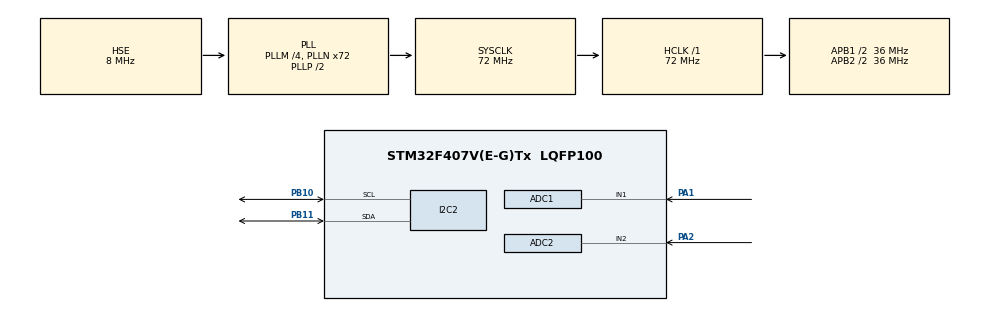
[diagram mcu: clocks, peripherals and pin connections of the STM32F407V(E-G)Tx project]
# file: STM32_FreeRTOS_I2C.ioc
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ADC1.Channel-0\#ChannelRegularConversion=ADC_CHANNEL_1
ADC1.ClockPrescaler=ADC_CLOCK_SYNC_PCLK_DIV4
ADC1.ContinuousConvMode=ENABLE
ADC1.NbrOfConversionFlag=1
ADC1.Rank-0\#ChannelRegularConversion=1
ADC1.Resolution=ADC_RESOLUTION_10B
ADC1.SamplingTime-0\#ChannelRegularConversion=ADC_SAMPLETIME_3CYCLES
ADC1.master=1
ADC2.Channel-0\#ChannelRegularConversion=ADC_CHANNEL_2
ADC2.ClockPrescaler=ADC_CLOCK_SYNC_PCLK_DIV4
ADC2.ContinuousConvMode=ENABLE
ADC2.NbrOfConversionFlag=1
ADC2.Rank-0\#ChannelRegularConversion=1
ADC2.Resolution=ADC_RESOLUTION_10B
ADC2.SamplingTime-0\#ChannelRegularConversion=ADC_SAMPLETIME_3CYCLES
FREERTOS.Mutexes01=adcMutex,Dynamic,NULL,Available
FREERTOS.Tasks01=defaultTask,24,128,StartDefaultTask,Default,NULL,Dynamic,NULL,NULL;ADC1Task,32,256,ADC1_Task,As external,NULL,Dynamic,NULL,NULL;ADC2Task,32,256,ADC2_Task,As external,NULL,Dynamic,NULL,NULL;DisplayTask,24,256,Display_Task,As external,NULL,Dynamic,NULL,NULL
FREERTOS.configUSE_NEWLIB_REENTRANT=1
Mcu.Family=STM32F4
Mcu.Name=STM32F407V(E-G)Tx
Mcu.Package=LQFP100
NVIC.PriorityGroup=NVIC_PRIORITYGROUP_4
NVIC.TIM2_IRQn=true\:15\:0\:false\:false\:true\:false\:false\:true\:true
NVIC.TimeBase=TIM2_IRQn
NVIC.TimeBaseIP=TIM2
PA1.Signal=ADCx_IN1
PA13.Mode=Serial_Wire
PA13.Signal=SYS_JTMS-SWDIO
PA14.Mode=Serial_Wire
PA14.Signal=SYS_JTCK-SWCLK
PA2.Signal=ADCx_IN2
PB10.Mode=I2C
PB10.Signal=I2C2_SCL
PB11.Mode=I2C
PB11.Signal=I2C2_SDA
PH0-OSC_IN.Mode=HSE-External-Oscillator
PH0-OSC_IN.Signal=RCC_OSC_IN
PH1-OSC_OUT.Mode=HSE-External-Oscillator
PH1-OSC_OUT.Signal=RCC_OSC_OUT
ProjectManager.HeapSize=0x200
ProjectManager.StackSize=0x400
ProjectManager.TargetToolchain=STM32CubeIDE
RCC.48MHZClocksFreq_Value=20571428.57142857
RCC.AHBFreq_Value=72000000
RCC.APB1CLKDivider=RCC_HCLK_DIV2
RCC.APB1Freq_Value=36000000
RCC.APB1TimFreq_Value=72000000
RCC.APB2CLKDivider=RCC_HCLK_DIV2
RCC.APB2Freq_Value=36000000
RCC.APB2TimFreq_Value=72000000
RCC.CortexFreq_Value=72000000
RCC.HCLKFreq_Value=72000000
RCC.HSE_VALUE=8000000
RCC.HSI_VALUE=16000000
RCC.PLLM=4
RCC.PLLN=72
RCC.PLLQ=7
RCC.PLLSourceVirtual=RCC_PLLSOURCE_HSE
RCC.SYSCLKFreq_VALUE=72000000
RCC.SYSCLKSource=RCC_SYSCLKSOURCE_PLLCLK
RCC.VCOOutputFreq_Value=144000000
SH.ADCx_IN1.0=ADC1_IN1,IN1
SH.ADCx_IN2.0=ADC2_IN2,IN2
TIM6.AutoReloadPreload=TIM_AUTORELOAD_PRELOAD_ENABLE
TIM6.Period=0xFFFF-1
TIM6.Prescaler=72-1
VP_FREERTOS_VS_CMSIS_V2.Mode=CMSIS_V2
VP_SYS_VS_tim2.Mode=TIM2
VP_TIM6_VS_ClockSourceINT.Mode=Enable_Timer
board=STM32F407G-DISC1

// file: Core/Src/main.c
/* USER CODE BEGIN Header */
/**
  ******************************************************************************
  * @file           : main.c
  * @brief          : Main program body
  ******************************************************************************
  * @attention
  *
  * Copyright (c) 2025 STMicroelectronics.
  * All rights reserved.
  *
  * This software is licensed under terms that can be found in the LICENSE file
  * in the root directory of this software component.
  * If no LICENSE file comes with this software, it is provided AS-IS.
  *
  ******************************************************************************
  */
/* USER CODE END Header */
#include "main.h"
#include "cmsis_os.h"

/* USER CODE BEGIN Includes */
#include "LCD_I2C.h"
#include <stdio.h>
/* USER CODE END Includes */

/* USER CODE BEGIN PD */
uint16_t readValue1, readValue2;
char lcd_buffer1[20];
char lcd_buffer2[20];
/* USER CODE END PD */

ADC_HandleTypeDef hadc1;
ADC_HandleTypeDef hadc2;
I2C_HandleTypeDef hi2c2;
TIM_HandleTypeDef htim6;
/* Definitions for defaultTask */
osThreadId_t defaultTaskHandle;
const osThreadAttr_t defaultTask_attributes = {
  .name = "defaultTask",
  .stack_size = 128 * 4,
  .priority = (osPriority_t) osPriorityNormal,
};
/* Definitions for ADC1Task */
osThreadId_t ADC1TaskHandle;
const osThreadAttr_t ADC1Task_attributes = {
  .name = "ADC1Task",
  .stack_size = 256 * 4,
  .priority = (osPriority_t) osPriorityAboveNormal,
};
/* Definitions for ADC2Task */
osThreadId_t ADC2TaskHandle;
const osThreadAttr_t ADC2Task_attributes = {
  .name = "ADC2Task",
  .stack_size = 256 * 4,
  .priority = (osPriority_t) osPriorityAboveNormal,
};
/* Definitions for DisplayTask */
osThreadId_t DisplayTaskHandle;
const osThreadAttr_t DisplayTask_attributes = {
  .name = "DisplayTask",
  .stack_size = 256 * 4,
  .priority = (osPriority_t) osPriorityNormal,
};
/* Definitions for adcMutex */
osMutexId_t adcMutexHandle;
const osMutexAttr_t adcMutex_attributes = {
  .name = "adcMutex"
};
/* USER CODE BEGIN PV */
osThreadId_t adc1TaskHandle;
osThreadId_t adc2TaskHandle;
osThreadId_t displayTaskHandle;
osMutexId_t adcMutexHandle;
/* USER CODE END PV */

void SystemClock_Config(void);
static void MX_GPIO_Init(void);
static void MX_ADC1_Init(void);
static void MX_ADC2_Init(void);
static void MX_I2C2_Init(void);
static void MX_TIM6_Init(void);
void StartDefaultTask(void *argument);
extern void ADC1_Task(void *argument);
extern void ADC2_Task(void *argument);
extern void Display_Task(void *argument);

/* USER CODE BEGIN PFP */
void read_val1(void);
void read_val2(void);
/* USER CODE END PFP */

/* USER CODE BEGIN 0 */
void read_val1(void)
{
   osMutexAcquire(adcMutexHandle, osWaitForever);
   HAL_ADC_Start(&hadc1);
   HAL_ADC_PollForConversion(&hadc1, 1000);
   readValue1 = HAL_ADC_GetValue(&hadc1);
   HAL_ADC_Stop(&hadc1);
   osMutexRelease(adcMutexHandle);
}

void read_val2(void)
{
   osMutexAcquire(adcMutexHandle, osWaitForever);
   HAL_ADC_Start(&hadc2);
   HAL_ADC_PollForConversion(&hadc2, 1000);
   readValue2 = HAL_ADC_GetValue(&hadc2);
   HAL_ADC_Stop(&hadc2);
   osMutexRelease(adcMutexHandle);
}

/* ADC1 Task - reads every 100ms */
void ADC1_Task(void *argument)
{
  const uint32_t delay_ms = 100;

  for(;;)
  {
    read_val1();
    osDelay(delay_ms);
  }
}

/* ADC2 Task - reads every 500ms */
void ADC2_Task(void *argument)
{
  const uint32_t delay_ms = 2000;

  for(;;)
  {
    read_val2();
    osDelay(delay_ms);
  }
}

/* Display Task - updates LCD periodically */
void Display_Task(void *argument)
{
  const uint32_t mydelay = 200;

  for(;;)
  {
    // Display PA1 value on first row
    LCD_SET_CURSOR(0, 0);
    uint16_t percent1 = (readValue1 * 100) / 1023;
    snprintf(lcd_buffer1, sizeof(lcd_buffer1), "PA1 : %3u%%", percent1);
    LCD_SEND_STRING(lcd_buffer1);
    // Display PA2 value on second row
    LCD_SET_CURSOR(1, 0);
    uint16_t percent2 = (readValue2 * 100) / 1023;
    snprintf(lcd_buffer2, sizeof(lcd_buffer2), "PA2 : %3u%%", percent2);
    LCD_SEND_STRING(lcd_buffer2);
    osDelay(mydelay);
  }
}
/* USER CODE END 0 */

int main(void)
{

  /* MCU Configuration--------------------------------------------------------*/

  /* Reset of all peripherals, Initializes the Flash interface and the Systick. */
  HAL_Init();

  /* Configure the system clock */
  SystemClock_Config();

  /* Initialize all configured peripherals */
  MX_GPIO_Init();
  MX_ADC1_Init();
  MX_ADC2_Init();
  MX_I2C2_Init();
  MX_TIM6_Init();
  /* USER CODE BEGIN 2 */
  LCD_INIT();
  /* USER CODE END 2 */

  /* Init scheduler */
  osKernelInitialize();
  /* Create the mutex(es) */
  /* creation of adcMutex */
  adcMutexHandle = osMutexNew(&adcMutex_attributes);

  /* Create the thread(s) */
  /* creation of defaultTask */
  defaultTaskHandle = osThreadNew(StartDefaultTask, NULL, &defaultTask_attributes);

  /* creation of ADC1Task */
  ADC1TaskHandle = osThreadNew(ADC1_Task, NULL, &ADC1Task_attributes);

  /* creation of ADC2Task */
  ADC2TaskHandle = osThreadNew(ADC2_Task, NULL, &ADC2Task_attributes);

  /* creation of DisplayTask */
  DisplayTaskHandle = osThreadNew(Display_Task, NULL, &DisplayTask_attributes);

  /* Start scheduler */
  osKernelStart();

  /* We should never get here as control is now taken by the scheduler */

  /* Infinite loop */
  while (1)
  {

  }
}

void SystemClock_Config(void)
{
  RCC_OscInitTypeDef RCC_OscInitStruct = {0};
  RCC_ClkInitTypeDef RCC_ClkInitStruct = {0};

  /** Configure the main internal regulator output voltage
  */
  __HAL_RCC_PWR_CLK_ENABLE();
  __HAL_PWR_VOLTAGESCALING_CONFIG(PWR_REGULATOR_VOLTAGE_SCALE1);

  /** Initializes the RCC Oscillators according to the specified parameters
  * in the RCC_OscInitTypeDef structure.
  */
  RCC_OscInitStruct.OscillatorType = RCC_OSCILLATORTYPE_HSE;
  RCC_OscInitStruct.HSEState = RCC_HSE_ON;
  RCC_OscInitStruct.PLL.PLLState = RCC_PLL_ON;
  RCC_OscInitStruct.PLL.PLLSource = RCC_PLLSOURCE_HSE;
  RCC_OscInitStruct.PLL.PLLM = 4;
  RCC_OscInitStruct.PLL.PLLN = 72;
  RCC_OscInitStruct.PLL.PLLP = RCC_PLLP_DIV2;
  RCC_OscInitStruct.PLL.PLLQ = 7;
  if (HAL_RCC_OscConfig(&RCC_OscInitStruct) != HAL_OK)
  {
    Error_Handler();
  }

  /** Initializes the CPU, AHB and APB buses clocks
  */
  RCC_ClkInitStruct.ClockType = RCC_CLOCKTYPE_HCLK|RCC_CLOCKTYPE_SYSCLK
                              |RCC_CLOCKTYPE_PCLK1|RCC_CLOCKTYPE_PCLK2;
  RCC_ClkInitStruct.SYSCLKSource = RCC_SYSCLKSOURCE_PLLCLK;
  RCC_ClkInitStruct.AHBCLKDivider = RCC_SYSCLK_DIV1;
  RCC_ClkInitStruct.APB1CLKDivider = RCC_HCLK_DIV2;
  RCC_ClkInitStruct.APB2CLKDivider = RCC_HCLK_DIV2;

  if (HAL_RCC_ClockConfig(&RCC_ClkInitStruct, FLASH_LATENCY_2) != HAL_OK)
  {
    Error_Handler();
  }
}

static void MX_ADC1_Init(void)
{

  ADC_ChannelConfTypeDef sConfig = {0};

  /** Configure the global features of the ADC (Clock, Resolution, Data Alignment and number of conversion)
  */
  hadc1.Instance = ADC1;
  hadc1.Init.ClockPrescaler = ADC_CLOCK_SYNC_PCLK_DIV4;
  hadc1.Init.Resolution = ADC_RESOLUTION_10B;
  hadc1.Init.ScanConvMode = DISABLE;
  hadc1.Init.ContinuousConvMode = ENABLE;
  hadc1.Init.DiscontinuousConvMode = DISABLE;
  hadc1.Init.ExternalTrigConvEdge = ADC_EXTERNALTRIGCONVEDGE_NONE;
  hadc1.Init.ExternalTrigConv = ADC_SOFTWARE_START;
  hadc1.Init.DataAlign = ADC_DATAALIGN_RIGHT;
  hadc1.Init.NbrOfConversion = 1;
  hadc1.Init.DMAContinuousRequests = DISABLE;
  hadc1.Init.EOCSelection = ADC_EOC_SINGLE_CONV;
  if (HAL_ADC_Init(&hadc1) != HAL_OK)
  {
    Error_Handler();
  }

  /** Configure for the selected ADC regular channel its corresponding rank in the sequencer and its sample time.
  */
  sConfig.Channel = ADC_CHANNEL_1;
  sConfig.Rank = 1;
  sConfig.SamplingTime = ADC_SAMPLETIME_3CYCLES;
  if (HAL_ADC_ConfigChannel(&hadc1, &sConfig) != HAL_OK)
  {
    Error_Handler();
  }

}

static void MX_ADC2_Init(void)
{

  ADC_ChannelConfTypeDef sConfig = {0};

  /** Configure the global features of the ADC (Clock, Resolution, Data Alignment and number of conversion)
  */
  hadc2.Instance = ADC2;
  hadc2.Init.ClockPrescaler = ADC_CLOCK_SYNC_PCLK_DIV4;
  hadc2.Init.Resolution = ADC_RESOLUTION_10B;
  hadc2.Init.ScanConvMode = DISABLE;
  hadc2.Init.ContinuousConvMode = ENABLE;
  hadc2.Init.DiscontinuousConvMode = DISABLE;
  hadc2.Init.ExternalTrigConvEdge = ADC_EXTERNALTRIGCONVEDGE_NONE;
  hadc2.Init.ExternalTrigConv = ADC_SOFTWARE_START;
  hadc2.Init.DataAlign = ADC_DATAALIGN_RIGHT;
  hadc2.Init.NbrOfConversion = 1;
  hadc2.Init.DMAContinuousRequests = DISABLE;
  hadc2.Init.EOCSelection = ADC_EOC_SINGLE_CONV;
  if (HAL_ADC_Init(&hadc2) != HAL_OK)
  {
    Error_Handler();
  }

  /** Configure for the selected ADC regular channel its corresponding rank in the sequencer and its sample time.
  */
  sConfig.Channel = ADC_CHANNEL_2;
  sConfig.Rank = 1;
  sConfig.SamplingTime = ADC_SAMPLETIME_3CYCLES;
  if (HAL_ADC_ConfigChannel(&hadc2, &sConfig) != HAL_OK)
  {
    Error_Handler();
  }

}

static void MX_I2C2_Init(void)
{

  hi2c2.Instance = I2C2;
  hi2c2.Init.ClockSpeed = 100000;
  hi2c2.Init.DutyCycle = I2C_DUTYCYCLE_2;
  hi2c2.Init.OwnAddress1 = 0;
  hi2c2.Init.AddressingMode = I2C_ADDRESSINGMODE_7BIT;
  hi2c2.Init.DualAddressMode = I2C_DUALADDRESS_DISABLE;
  hi2c2.Init.OwnAddress2 = 0;
  hi2c2.Init.GeneralCallMode = I2C_GENERALCALL_DISABLE;
  hi2c2.Init.NoStretchMode = I2C_NOSTRETCH_DISABLE;
  if (HAL_I2C_Init(&hi2c2) != HAL_OK)
  {
    Error_Handler();
  }

}

static void MX_TIM6_Init(void)
{

  TIM_MasterConfigTypeDef sMasterConfig = {0};

  htim6.Instance = TIM6;
  htim6.Init.Prescaler = 72-1;
  htim6.Init.CounterMode = TIM_COUNTERMODE_UP;
  htim6.Init.Period = 0xFFFF-1;
  htim6.Init.AutoReloadPreload = TIM_AUTORELOAD_PRELOAD_ENABLE;
  if (HAL_TIM_Base_Init(&htim6) != HAL_OK)
  {
    Error_Handler();
  }
  sMasterConfig.MasterOutputTrigger = TIM_TRGO_RESET;
  sMasterConfig.MasterSlaveMode = TIM_MASTERSLAVEMODE_DISABLE;
  if (HAL_TIMEx_MasterConfigSynchronization(&htim6, &sMasterConfig) != HAL_OK)
  {
    Error_Handler();
  }

}

static void MX_GPIO_Init(void)
{

  /* GPIO Ports Clock Enable */
  __HAL_RCC_GPIOH_CLK_ENABLE();
  __HAL_RCC_GPIOA_CLK_ENABLE();
  __HAL_RCC_GPIOB_CLK_ENABLE();

}

void StartDefaultTask(void *argument)
{
  for(;;)
  {
    osDelay(1);
  }
}

void HAL_TIM_PeriodElapsedCallback(TIM_HandleTypeDef *htim)
{
  if (htim->Instance == TIM2) {
    HAL_IncTick();
  }
}

void Error_Handler(void)
{
  __disable_irq();
  while (1)
  {
  }
}
